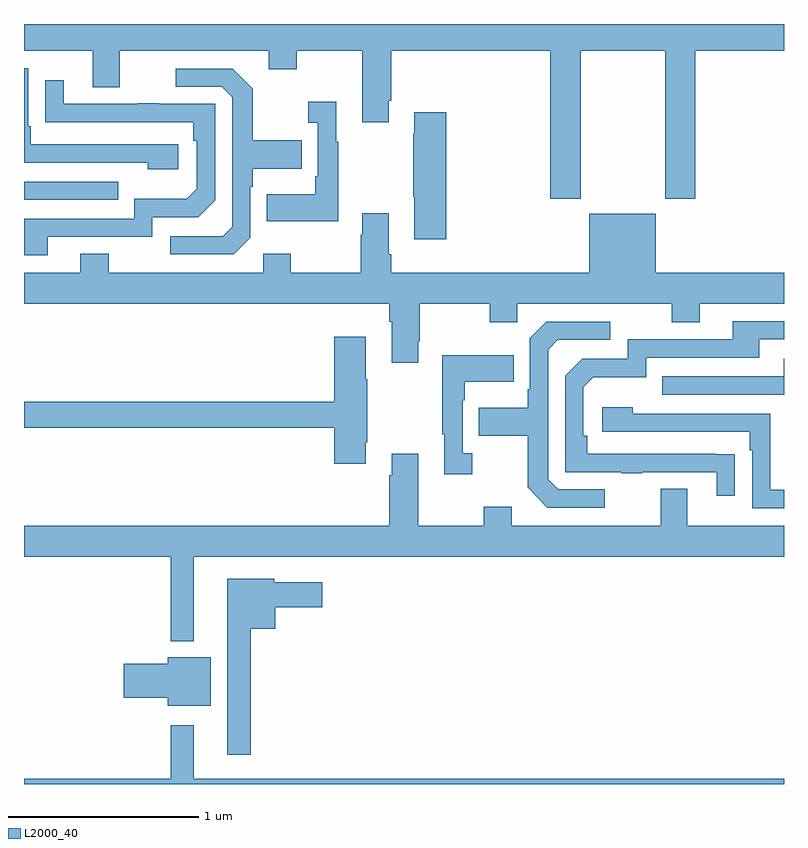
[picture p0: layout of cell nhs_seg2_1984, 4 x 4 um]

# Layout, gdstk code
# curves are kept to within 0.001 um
import gdstk
lib = gdstk.Library(unit=1e-6, precision=1e-09)
def R(c, l, rs):  # rectangles x0, y0, x1, y1
    for r in rs: c.add(gdstk.rectangle(r[:2], r[2:], *l))
def P(c, l, *ps):  # polygons
    for p in ps: c.add(gdstk.Polygon(p, *l))
L2000_40 = (2000, 40)

nhs_seg2_1984 = lib.new_cell('nhs_seg2_1984')
R(nhs_seg2_1984, L2000_40, [(215,622.875,215.495,622.971)])
P(nhs_seg2_1984, L2000_40, [(217.929,623.66),(218.374,623.66),(218.374,622.881),(218.534,622.881),(218.534,623.66),(219,623.66),(219,623.8),(215,623.8),(215,623.66),(215.363,623.66),(215.363,623.466),(215.503,623.466),(215.503,623.66),(216.287,623.66),(216.287,623.561),(216.435,623.561),(216.435,623.66),(216.779,623.66),(216.779,623.283),(216.919,623.283),(216.919,623.395),(216.932,623.395),(216.932,623.66),(217.769,623.66),(217.769,622.881),(217.929,622.881)],
  [(215.812,623.166),(215.035,623.166),(215.035,623.263),(215.022,623.263),(215.022,623.568),(215,623.568),(215,623.07),(215.651,623.07),(215.651,623.036),(215.812,623.036)],
  [(216.192,622.674),(216.192,622.943),(216.205,622.943),(216.205,623.039),(216.461,623.039),(216.461,623.187),(216.205,623.187),(216.205,623.459),(216.099,623.565),(215.799,623.565),(215.799,623.469),(216.042,623.469),(216.096,623.415),(216.096,622.734),(216.045,622.683),(215.769,622.683),(215.769,622.587),(216.105,622.587)],
  [(215.125,622.68),(215.676,622.68),(215.676,622.782),(215.916,622.782),(216.006,622.872),(216.006,623.379),(215.711,623.379),(215.711,623.384),(215.599,623.384),(215.599,623.379),(215.209,623.379),(215.209,623.503),(215.113,623.503),(215.113,623.284),(215.89,623.283),(215.89,623.186),(215.91,623.186),(215.91,622.932),(215.857,622.879),(215.58,622.879),(215.58,622.776),(215,622.776),(215,622.584),(215.125,622.584)],
  [(216.655,623.179),(216.643,623.179),(216.643,623.392),(216.495,623.392),(216.495,623.279),(216.546,623.279),(216.546,622.999),(216.534,622.999),(216.534,622.903),(216.277,622.903),(216.277,622.763),(216.655,622.763)],
  [(217.223,623.335),(217.055,623.335),(217.055,623.222),(217.048,623.222),(217.048,622.891),(217.055,622.891),(217.055,622.668),(217.223,622.668)],
  [(217.075,622.129),(217.083,622.129),(217.083,622.328),(217.45,622.328),(217.45,622.229),(217.596,622.229),(217.596,622.328),(218.41,622.328),(218.41,622.229),(218.557,622.229),(218.557,622.328),(219,622.328),(219,622.492),(218.326,622.492),(218.326,622.801),(217.976,622.801),(217.976,622.492),(216.932,622.492),(216.932,622.588),(216.919,622.588),(216.919,622.804),(216.779,622.804),(216.779,622.691),(216.772,622.691),(216.772,622.492),(216.405,622.492),(216.405,622.591),(216.258,622.591),(216.258,622.492),(215.445,622.492),(215.445,622.591),(215.297,622.591),(215.297,622.492),(215,622.492),(215,622.328),(216.923,622.328),(216.923,622.232),(216.935,622.232),(216.935,622.017),(217.075,622.017)],
  [(218.741,621.536),(217.964,621.537),(217.964,621.634),(217.944,621.634),(217.944,621.888),(217.997,621.941),(218.274,621.941),(218.274,622.044),(218.869,622.044),(218.869,622.14),(219,622.14),(219,622.236),(218.729,622.236),(218.729,622.14),(218.178,622.14),(218.178,622.038),(217.938,622.038),(217.848,621.948),(217.848,621.441),(218.143,621.441),(218.143,621.436),(218.255,621.436),(218.255,621.441),(218.645,621.441),(218.645,621.318),(218.741,621.318)],
  [(218.056,621.351),(217.812,621.351),(217.758,621.405),(217.758,622.086),(217.809,622.137),(218.086,622.137),(218.086,622.233),(217.749,622.233),(217.662,622.146),(217.662,621.877),(217.65,621.877),(217.65,621.781),(217.393,621.781),(217.393,621.634),(217.65,621.634),(217.65,621.361),(217.755,621.255),(218.056,621.255)],
  [(216.799,621.598),(216.807,621.598),(216.807,621.929),(216.799,621.929),(216.799,622.153),(216.632,622.153),(216.632,621.812),(215,621.812),(215,621.676),(216.632,621.676),(216.632,621.486),(216.799,621.486)],
  [(217.36,621.542),(217.308,621.542),(217.308,621.821),(217.321,621.821),(217.321,621.917),(217.577,621.917),(217.577,622.057),(217.2,622.057),(217.2,621.641),(217.211,621.641),(217.211,621.429),(217.36,621.429)],
  [(219,622.039),(218.999,622.039),(218.999,621.945),(218.359,621.945),(218.359,621.849),(219,621.849)],
  [(219,621.348),(218.928,621.348),(218.928,621.75),(218.204,621.75),(218.204,621.784),(218.043,621.784),(218.043,621.654),(218.819,621.654),(218.819,621.557),(218.832,621.557),(218.832,621.252),(219,621.252)],
  [(215.893,620.996),(219,620.996),(219,621.16),(218.491,621.16),(218.491,621.355),(218.351,621.355),(218.351,621.16),(217.567,621.16),(217.567,621.259),(217.42,621.259),(217.42,621.16),(217.075,621.16),(217.075,621.538),(216.935,621.538),(216.935,621.425),(216.923,621.425),(216.923,621.16),(215,621.16),(215,620.996),(215.772,620.996),(215.772,620.552),(215.893,620.552)],
  [(216.193,620.618),(216.322,620.618),(216.322,620.729),(216.571,620.729),(216.571,620.863),(216.318,620.863),(216.318,620.881),(216.071,620.881),(216.071,619.953),(216.193,619.953)],
  [(215.983,620.467),(215.756,620.467),(215.756,620.432),(215.526,620.432),(215.526,620.254),(215.756,620.254),(215.756,620.213),(215.983,620.213)],
  [(219,619.828),(215.893,619.828),(215.893,620.11),(215.772,620.11),(215.772,619.828),(215,619.828),(215,619.8),(219,619.8)])

lib.write_gds('nhs_seg2_1984.gds')
